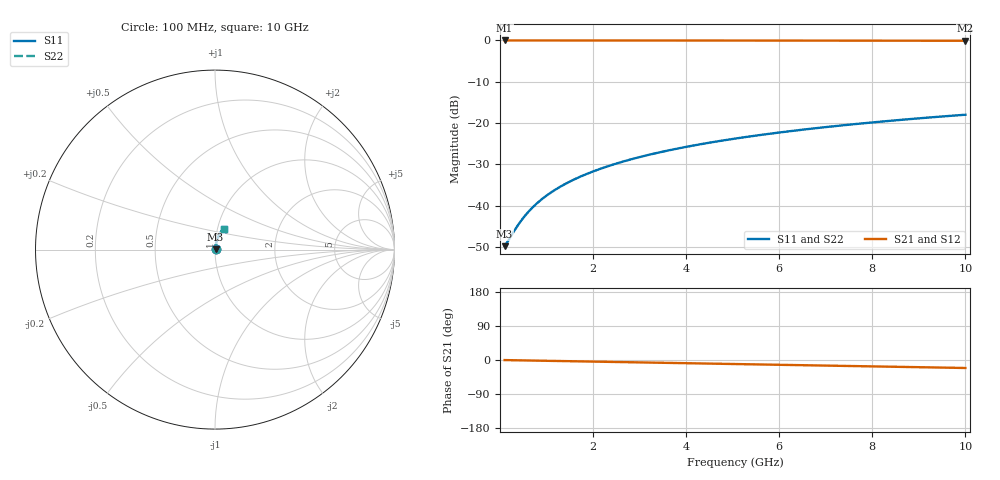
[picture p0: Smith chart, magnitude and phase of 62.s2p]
# Hz S RI R 50.00
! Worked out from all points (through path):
!   100 points, 100 MHz to 10 GHz, reference 50 ohm
!   highest |S21| = -0.03 dB at 100 MHz (marker M1); lowest = -0.1 dB at 10 GHz (marker M2)
!   group delay of S21, straight-line fit = 5.86 ps
!   lowest |S11| = -49.8 dB at 100 MHz (marker M3), VSWR 1.01, Z = 50.3 + j0.129 ohm
!   |S11| at or under -10 dB: start of sweep to end of sweep
!   |S22| runs from -49.8 to -18.0 dB; largest |S21 - S12| = 0
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1e8  0.00298 0.00128  0.997 -0.00367  0.997 -0.00367  0.00298 0.00128
2e8  0.00301 0.00256  0.997 -0.00733  0.997 -0.00733  0.00301 0.00256
4e8  0.0031 0.00512  0.9968 -0.0147  0.9968 -0.0147  0.0031 0.00512
5e8  0.00315 0.0064  0.9968 -0.0183  0.9968 -0.0183  0.00315 0.0064
6e8  0.00321 0.00767  0.9967 -0.022  0.9967 -0.022  0.00321 0.00767
7e8  0.00328 0.00895  0.9966 -0.0257  0.9966 -0.0257  0.00328 0.00895
8e8  0.00335 0.0102  0.9964 -0.0293  0.9964 -0.0293  0.00335 0.0102
1e9  0.00353 0.0128  0.9962 -0.0367  0.9962 -0.0367  0.00353 0.0128
1.2e9  0.00375 0.0153  0.9958 -0.044  0.9958 -0.044  0.00375 0.0153
1.5e9  0.00414 0.0191  0.9952 -0.055  0.9952 -0.055  0.00414 0.0191
1.8e9  0.00462 0.023  0.9944 -0.0659  0.9944 -0.0659  0.00462 0.023
2.1e9  0.00518 0.0267  0.9935 -0.0769  0.9935 -0.0769  0.00518 0.0267
2.5e9  0.00605 0.0318  0.9921 -0.0915  0.9921 -0.0915  0.00605 0.0318
2.9e9  0.00708 0.0368  0.9905 -0.1061  0.9905 -0.1061  0.00708 0.0368
3.4e9  0.00856 0.043  0.9881 -0.1242  0.9881 -0.1242  0.00856 0.043
4.2e9  0.0114 0.0528  0.9834 -0.1532  0.9834 -0.1532  0.0114 0.0528
5.1e9  0.0153 0.0636  0.9771 -0.1855  0.9771 -0.1855  0.0153 0.0636
5.9e9  0.0193 0.073  0.9705 -0.2141  0.9705 -0.2141  0.0193 0.073
6.7e9  0.0239 0.0822  0.963 -0.2423  0.963 -0.2423  0.0239 0.0822
7.5e9  0.0291 0.091  0.9545 -0.2703  0.9545 -0.2703  0.0291 0.091
8.4e9  0.0354 0.1006  0.944 -0.3014  0.944 -0.3014  0.0354 0.1006
1e10  0.0483 0.1165  0.9225 -0.3555  0.9225 -0.3555  0.0483 0.1165
